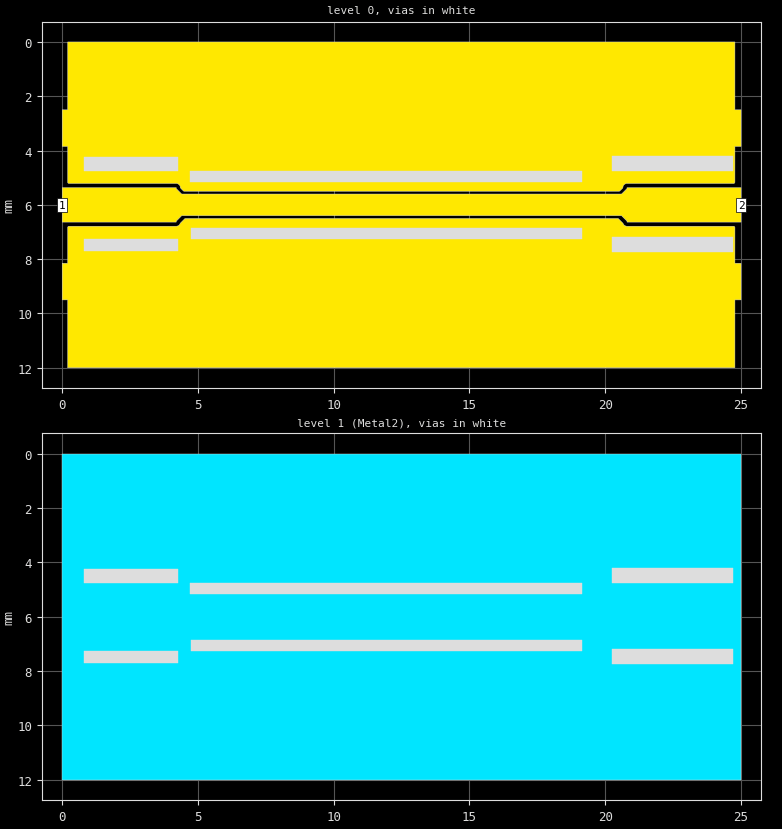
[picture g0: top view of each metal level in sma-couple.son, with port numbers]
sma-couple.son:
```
FTYP SONPROJ 17 ! Sonnet Project File
VER 17.52.2
HEADER
LIC antikernel2.1.48685 90e2ba8817c0 havequick azonenberg
DAT 04/28/2020 05:04:50
BUILT_BY_CREATED xgeom 16.56 07/03/2018 15:05:41
BUILT_BY_SAVED sonnet 17.52.2
MDATE 04/28/2020 05:04:50
HDATE 04/28/2020 05:04:50
ANN Created by dxfgeo, Sonnet Software Inc.
END HEADER
DIM
ANG DEG
CAP PF
CON /OH
FREQ GHZ
IND NH
LNG MM
RES OH
END DIM
CONTROL
VARSWP
OPTIONS  -dj
SPEED 1
CACHE_ABS 1
Q_ACC N
END CONTROL
GEO
SYM
TMET "Free Space" 0 FREESPACE 376.7303136 0 0 0
BMET "Free Space" 0 FREESPACE 376.7303136 0 0 0
MET "Copper 1oz" 1 TMM 58000000 0.5 0.035 2
BRI "Alumina (96%)" 0 9.4 0.0004 0 
BRI "Alumina (99.5%)" 0 9.9 0.0001 0 
BRI "Aluminum Nitride" 0 8.6 0.0003 0 
BRI "Arlon 25FR" 0 3.58 0.0035 0 
BRI "Arlon 25N" 0 3.38 0.0025 0 
BRI "Arlon AD5" 0 5.1 0.003 0 
BRI "Arlon AD10" 0 10.2 0.005 0 
BRI "Arlon AD250" 0 2.5 0.0018 0 
BRI "Arlon AD255A" 0 2.55 0.0015 0 
BRI "Arlon AD260A" 0 2.6 0.0018 0 
BRI "Arlon AD270" 0 2.7 0.0023 0 
BRI "Arlon AD300A" 0 3 0.002 0 
BRI "Arlon AD320A" 0 3.2 0.0032 0 
BRI "Arlon AD350A" 0 3.5 0.003 0 
BRI "Arlon AD410" 0 4.1 0.003 0 
BRI "Arlon AD430" 0 4.3 0.003 0 
BRI "Arlon AD450" 0 4.5 0.0035 0 
BRI "Arlon AD600" 0 6.15 0.003 0 
BRI "Arlon AD1000" 0 10.2 0.0023 0 
BRI "Arlon AR1000" 0 9.8 0.003 0 
BRI "Arlon CLTE" 0 2.96 0.0023 0 
BRI "Arlon CLTE-AT" 0 3 0.0013 0 
BRI "Arlon CLTE-P" 0 2.94 0.0025 0 
BRI "Arlon CLTE-XT" 0 2.94 0.0012 0 
BRI "Arlon Cu 217LX" 0 2.17 0.0009 0 
BRI "Arlon Cu 233LX" 0 2.33 0.0013 0 
BRI "Arlon Cu 250GT" 0 2.5 0.001 0 
BRI "Arlon Cu 250GX" 0 2.5 0.0018 0 
BRI "Arlon Cu 6250" 0 2.32 0.0013 0 
BRI "Arlon Cu 6700" 0 2.35 0.0025 0 
BRI "Arlon Di 522" 0 2.5 0.001 0 
BRI "Arlon Di 527" 0 2.5 0.0018 0 
BRI "Arlon Di 870" 0 2.33 0.0013 0 
BRI "Arlon Di 880" 0 2.17 0.0009 0 
BRI "Arlon Iso 917" 0 2.17 0.0013 0 
BRI "Arlon Iso 933" 0 2.33 0.0016 0 
BRI "Arlon Multi HF" 0 3.7 0.004 0 
BRI "Arlon TC350" 0 3.5 0.002 0 
BRI "Arlon TC600" 0 6.15 0.002 0 
BRI "Beryllia (99.5%)" 0 6.5 0.0004 0 
BRI "CEM-1" 0 4.5 0.02 0 
BRI "CEM-3" 0 4.5 0.02 0 
BRI "Dupont 9K7" 0 7.1 0.0012 0 
BRI "Dupont 943" 0 7.4 0.002 0 
BRI "Dupont 951" 0 7.8 0.006 0 
BRI "Dupont FEP" 0 2 0.0005 0 
BRI "Dupont Vacrel" 0 3.8 0.011 0 
BRI "ESL 41010" 0 7.5 0.005 0 
BRI "ESL 41020" 0 7.25 0.005 0 
BRI "ESL 41050" 0 13.5 0.002 0 
BRI "ESL 41060" 0 16.5 0.002 0 
BRI "ESL 41110" 0 4.5 0.004 0 
BRI "Ferro A6M" 0 5.9 0.002 0 
BRI "Ferro A6S" 0 5.9 0.002 0 
BRI "Ferro L8" 0 7.3 0.0018 0 
BRI "FR-4" 0 4.4 0.02 0 
BRI "G-10" 0 4.8 0.025 0 
BRI "Gallium Arsenide" 0 12.9 0.006 0 
BRI "Gallium Nitride" 0 9.7 0 0 
BRI "Glass (Pyrex)" 0 4.82 0.0054 0 
BRI "Heraeus HL2000" 0 7.3 0.0026 0 
BRI "Isola 370HR" 0 4.04 0.021 0 
BRI "Isola FR408" 0 3.77 0.0116 0 
BRI "Isola FR408HR" 0 3.68 0.0092 0 
BRI "Isola Getek" 0 3.6 0.01 0 
BRI "Isola GI-180" 0 3.7 0.013 0 
BRI "Isola IS415" 0 3.82 0.0125 0 
BRI "Isola IS620i" 0 3.58 0.006 0 
BRI "Isola IS680-280" 0 2.8 0.0025 0 
BRI "Isola IS680-300" 0 3 0.003 0 
BRI "Isola IS680-320" 0 3.2 0.003 0 
BRI "Isola IS680-333" 0 3.33 0.003 0 
BRI "Isola IS680-338" 0 3.38 0.0032 0 
BRI "Isola IS680-345" 0 3.45 0.0036 0 
BRI "Kerafol CT800" 0 5.3 0.008 0 
BRI "Nelco MW9350" 0 3.7 0.004 0 
BRI "Nelco N4000-12" 0 3.7 0.008 0 
BRI "Nelco N4000-13" 0 3.7 0.009 0 
BRI "Nelco N4000-13SI" 0 3.2 0.007 0 
BRI "Nelco N4000-13EP" 0 3.7 0.008 0 
BRI "Nelco N4350-13RF" 0 3.5 0.0065 0 
BRI "Nelco N4380-13RF" 0 3.8 0.007 0 
BRI "Nelco N9300-13RF" 0 3 0.004 0 
BRI "Nelco N9320-13RF" 0 3.2 0.0045 0 
BRI "Nelco N9338-13RF" 0 3.38 0.0046 0 
BRI "Nelco N9350-13RF" 0 3.48 0.0055 0 
BRI "Nelco NH9294" 0 2.94 0.0022 0 
BRI "Nelco NH9300" 0 3 0.0023 0 
BRI "Nelco NH9320" 0 3.2 0.0024 0 
BRI "Nelco NH9338" 0 3.38 0.0025 0 
BRI "Nelco NH9348" 0 3.48 0.003 0 
BRI "Nelco NH9350" 0 3.5 0.003 0 
BRI "Nelco NH9410" 0 4.1 0.003 0 
BRI "Nelco NH9450" 0 4.5 0.003 0 
BRI "Nelco NX9240" 0 2.4 0.0016 0 
BRI "Nelco NX9245" 0 2.45 0.0016 0 
BRI "Nelco NX9250" 0 2.5 0.0017 0 
BRI "Nelco NX9255" 0 2.55 0.0018 0 
BRI "Nelco NX9260" 0 2.6 0.0019 0 
BRI "Nelco NY9208" 0 2.08 0.0006 0 
BRI "Nelco NY9217" 0 2.17 0.0008 0 
BRI "Nelco NY9220" 0 2.2 0.0009 0 
BRI "Nelco NY9233" 0 2.33 0.0011 0 
BRI "PET" 0 3.37 0.0208 0 
BRI "Polyimide" 0 3.5 0.003 0 
BRI "Quartz (Fused)" 0 3.78 0.0001 0 
BRI "Rogers 3001" 0 2.28 0.003 0 
BRI "Rogers RO2808" 0 7.6 0.0015 0 
BRI "Rogers RO3003" 0 3 0.0013 0 
BRI "Rogers RO3006" 0 6.5 0.002 0 
BRI "Rogers RO3010" 0 11.2 0.0022 0 
BRI "Rogers RO3035" 0 3.6 0.0018 0 
BRI "Rogers RO3203" 0 3.02 0.0016 0 
BRI "Rogers RO3206" 0 6.6 0.0027 0 
BRI "Rogers RO3210" 0 10.8 0.0027 0 
BRI "Rogers RO3730" 0 3 0.0016 0 
BRI "Rogers RO4003C" 0 3.55 0.0029 0 
BRI "Rogers RO4533" 0 3.45 0.0029 0 
BRI "Rogers RO4534" 0 3.4 0.003 0 
BRI "Rogers RO4350B" 0 3.66 0.0037 0 
BRI "Rogers RO4350BTX" 0 3.66 0.0034 0 
BRI "Rogers RO4360" 0 6.15 0.0038 0 
BRI "Rogers RO4450B-3.6" 0 3.3 0.0043 0 
BRI "Rogers RO4450B-4" 0 3.54 0.004 0 
BRI "Rogers RO4450F" 0 3.52 0.0041 0 
BRI "Rogers RO4730" 0 3 0.0033 0 
BRI "Rogers RT5870" 0 2.33 0.0012 0 
BRI "Rogers RT5880" 0 2.2 0.0009 0 
BRI "Rogers RT5880LZ" 0 1.96 0.0019 0 
BRI "Rogers RT6002" 0 2.94 0.0012 0 
BRI "Rogers RT6006" 0 6.15 0.0027 0 
BRI "Rogers RT6010LM" 0 10.9 0.0023 0 
BRI "Rogers RT6035HTC" 0 3.6 0.0013 0 
BRI "Rogers RT6202" 0 2.94 0.0015 0 
BRI "Rogers RT6202PR" 0 2.95 0.0015 0 
BRI "Rogers Syron7000" 0 3.4 0.0045 0 
BRI "Rogers Syron7100-2" 0 3.61 0.006 0 
BRI "Rogers Syron7100-4" 0 3.39 0.005 0 
BRI "Rogers Theta" 0 4.01 0.0118 0 
BRI "Rogers TMM 3" 0 3.39 0.002 0 
BRI "Rogers TMM 4" 0 4.5 0.002 0 
BRI "Rogers TMM 6" 0 6 0.0023 0 
BRI "Rogers TMM 10" 0 9.56 0.0022 0 
BRI "Rogers TMM 10i" 0 9.96 0.002 0 
BRI "Rogers UL2000" 0 2.5 0.0019 0 
BRI "Rogers UL3850" 0 3.05 0.0025 0 
BRI "Rogers UL3908" 0 2.9 0.0025 0 
BRI "Rogers XT8000" 0 3.34 0.0035 0 
BRI "Rogers XT8100-2" 0 3.54 0.0049 0 
BRI "Rogers XT8100-4" 0 3.32 0.0038 0 
BRI "Silicon (intrinsic)" 0 11.9 0.004 0.00044 
BRI "Silicon Dioxide" 0 3.9 0 0 
BRI "Silicon Nitride" 0 7.5 0 0 
BRI "Taconic CER-10" 0 10 0.0035 0 
BRI "Taconic FastFilm" 0 2.7 0.0012 0 
BRI "Taconic Fastrise-DS" 0 2.96 0.0018 0 
BRI "Taconic Fastrise27" 0 2.7 0.0014 0 
BRI "Taconic Fastrise77" 0 7.7 0.0034 0 
BRI "Taconic FEP" 0 2 0.0003 0 
BRI "Taconic RF-30" 0 3 0.0014 0 
BRI "Taconic RF-35" 0 3.5 0.0018 0 
BRI "Taconic RF-35A2" 0 3.5 0.0011 0 
BRI "Taconic RF-35P" 0 3.5 0.0025 0 
BRI "Taconic RF-41" 0 4.1 0.0038 0 
BRI "Taconic RF-43" 0 4.3 0.0033 0 
BRI "Taconic RF-45" 0 4.5 0.0037 0 
BRI "Taconic RF-60A" 0 6.15 0.0038 0 
BRI "Taconic RF-301" 0 2.97 0.0012 0 
BRI "Taconic TacBond HT" 0 2.35 0.0025 0 
BRI "Taconic TLA-6" 0 2.62 0.0012 0 
BRI "Taconic TLC-27" 0 2.75 0.003 0 
BRI "Taconic TLC-30" 0 3 0.003 0 
BRI "Taconic TLC-32" 0 3.2 0.003 0 
BRI "Taconic TLE-95" 0 2.95 0.0028 0 
BRI "Taconic TLF-34" 0 3.4 0.002 0 
BRI "Taconic TLF-35" 0 3.5 0.002 0 
BRI "Taconic TLP-3" 0 2.33 0.0009 0 
BRI "Taconic TLP-5" 0 2.2 0.0009 0 
BRI "Taconic TLP-5A" 0 2.17 0.0009 0 
BRI "Taconic TLT-0" 0 2.45 0.0006 0 
BRI "Taconic TLT-9" 0 2.5 0.0006 0 
BRI "Taconic TLT-8" 0 2.55 0.0006 0 
BRI "Taconic TLT-7" 0 2.6 0.0006 0 
BRI "Taconic TLT-6" 0 2.65 0.0006 0 
BRI "Taconic TLX-0" 0 2.45 0.0019 0 
BRI "Taconic TLX-9" 0 2.5 0.0019 0 
BRI "Taconic TLX-8" 0 2.55 0.0019 0 
BRI "Taconic TLX-7" 0 2.6 0.0019 0 
BRI "Taconic TLX-6" 0 2.65 0.0019 0 
BRI "Taconic TLY-3" 0 2.33 0.0009 0 
BRI "Taconic TLY-3F" 0 2.33 0.0009 0 
BRI "Taconic TLY-5" 0 2.2 0.0009 0 
BRI "Taconic TLY-5-L" 0 2.2 0.0009 0 
BRI "Taconic TLY-5A" 0 2.17 0.0009 0 
BRI "Taconic TLY-5A-L" 0 2.17 0.0009 0 
BRI "Taconic TPG-30" 0 3 0.0038 0 
BRI "Taconic TPG-32" 0 3.2 0.005 0 
BRI "Taconic TPG-35" 0 3.5 0.005 0 
BRI "Taconic TRF-41" 0 4.1 0.0035 0 
BRI "Taconic TRF-43" 0 4.3 0.0035 0 
BRI "Taconic TRF-45" 0 4.5 0.0035 0 
BRI "Taconic TSM-DS" 0 2.85 0.001 0 
BRI "Taconic TSM-DS3" 0 3 0.0011 0 
BRI "Taconic TSM-26" 0 2.6 0.0014 0 
BRI "Taconic TSM-29" 0 2.94 0.0013 0 
BRI "Taconic TSM-30" 0 3 0.0013 0 
BRI "Teflon (PTFE)" 0 2.08 0.0004 0 
BOX 2 25 12 1000 480 20 0
      1 1 1 0 0 0 0 "Air"
      1.524 3.66 1 0.0037 0 0 0 "Rogers RO4350B"
      1 1 1 0 0 0 0 "Air"
TECHLAY METAL Metal1 <UNSPECIFIED> -2 0 
0 0 0 N 0 1 1 100 100 0 0 0 Y
END
END
TECHLAY METAL Metal2 <UNSPECIFIED> -3 0 
1 0 -1 N 0 1 1 100 100 0 0 0 Y
END
END
TECHLAY VIA Via1 <UNSPECIFIED> -4 0 
VIA POLYGON
1 0 -1 N 0 1 1 100 100 0 0 0 Y
TOLEVEL 0 RING NOCOVERS
END
END
DIM STD YDIR 1
POS 0.4194571487 0.7292568107
NOM 1.2700042
REF1 POLY 17387 1
38
REF2 POLY 17387 1
37
END
DIM STD YDIR 1
POS -0.01951792985 0.4844906184
NOM 0.8145981
REF1 POLY 17387 1
45
REF2 POLY 17387 1
26
END
LORGN 0 75 U 
POR1 BOX
POLY 17387 1
13
1 50 0 0 0 -3.552713679e-15 6 
POR1 BOX
POLY 17387 1
37
2 50 0 0 0 25 6 
NUM 10
0 49 0 N 17387 1 1 100 100 0 0 0 Y
USER_DAT FromImport
20.60630035 5.5970001
20.604599 5.5999985
4.39530182 5.5999985
4.39400101 5.5976028
4.39189911 5.5934982
4.38869858 5.5894012
4.38579941 5.5858994
4.21459961 5.4145966
4.21110153 5.4116974
4.20750046 5.408699
4.20299911 5.4063034
4.20000076 5.4046021
4.20000076 5.3649979
-3.552713679e-15 5.3649979
-3.552713679e-15 6.6350021
4.20000076 6.6350021
4.20000076 6.5952988
4.20240021 6.594101
4.20650101 6.5919037
4.21060181 6.5886993
4.21409988 6.5858002
4.38539886 6.4145966
4.38830185 6.4111023
4.3913002 6.4075012
4.39369965 6.4030991
4.395401 6.4000015
20.60469818 6.4000015
20.60589981 6.4023972
20.60810089 6.4065018
20.61130142 6.4105988
20.61420059 6.4141006
20.78540039 6.5854034
20.78889847 6.5883026
20.79249954 6.591301
20.7969017 6.5936966
20.79999924 6.5953979
20.79999924 6.6350021
25 6.6350021
25 5.3649979
20.79999924 5.3649979
20.79999924 5.4047012
20.79759979 5.4059982
20.79349899 5.4080963
20.78939819 5.4113007
20.78590012 5.4141998
20.61460114 5.5854034
20.61169815 5.5888977
20.6086998 5.5924988
20.60630035 5.5970001
END
0 109 0 N 17392 1 1 100 100 0 0 0 Y
USER_DAT FromImport
20.50889969 5.4994965
20.51350021 5.4990997
20.51839828 5.4977036
20.52289963 5.4963989
20.52740097 5.4941025
20.53150177 5.4918976
20.53559875 5.4887009
20.53910065 5.4858017
20.63550186 5.3895035
20.63679886 5.3879013
20.63840103 5.3862991
20.63990021 5.3841019
20.64160156 5.3820038
20.6427002 5.3800964
20.64390182 5.3783035
20.64500046 5.3758011
20.64630127 5.3733978
20.64690018 5.3712997
20.64780045 5.3693008
20.64830017 5.3666992
20.64910126 5.3640976
20.64929962 5.3619003
20.64979935 5.3598022
20.65219879 5.3356018
20.66070175 5.3072968
20.67470169 5.2813034
20.69340134 5.2584
20.71630096 5.2397003
20.74229813 5.2257004
20.77059937 5.2172012
20.80250168 5.2139969
24.72499847 5.2139969
24.72969818 5.2136002
24.7344017 5.2130966
24.73929977 5.2117004
24.74369812 5.2104034
24.74829865 5.2080002
24.75239944 5.2059021
24.75640106 5.2026978
24.75999832 5.1997986
24.76330185 5.1958008
24.7663002 5.1922989
24.76869965 5.1877975
24.77099991 5.1837006
24.77249908 5.1788025
24.77389908 5.1744003
24.7745018 5.1691971
24.77500153 5.1647034
24.77500153 3.8499985
25 3.8499985
25 2.5
24.77500153 2.5
24.77500153 0
0.20000076 0
0.20000076 2.5
-3.552713679e-15 2.5
-3.552713679e-15 3.8499985
0.20000076 3.8499985
0.20000076 5.1640015
0.20050049 5.1687012
0.20089912 5.1734009
0.20229912 5.178299
0.20359993 5.1828003
0.20599937 5.1873016
0.20820045 5.1913986
0.21139908 5.1953964
0.21430016 5.1989975
0.21820068 5.202301
0.22179985 5.2052994
0.2262001 5.2077026
0.2303009 5.2099991
0.23509979 5.2115021
0.23959923 5.2128983
0.24469948 5.213501
0.2493 5.2139969
4.19749832 5.2139969
4.22940063 5.2172012
4.25770187 5.2257004
4.28369904 5.2397003
4.30659866 5.2584
4.32529831 5.2813034
4.33929825 5.3072968
4.34780121 5.3356018
4.35010147 5.3591003
4.3506012 5.3611984
4.35079956 5.3634033
4.35150146 5.3659973
4.35200119 5.3686981
4.35290146 5.370697
4.35350037 5.3728027
4.35469818 5.3751984
4.35580063 5.3777008
4.35699844 5.3795013
4.35800171 5.3814011
4.35969925 5.3834991
4.36119843 5.3858032
4.36270142 5.3873978
4.36410141 5.3889999
4.46039963 5.4853973
4.46390152 5.4882965
4.46749878 5.4913025
4.47200012 5.4936981
4.47600174 5.4960022
4.48089981 5.4974976
4.48529816 5.4989014
4.4905014 5.4994965
4.49499893 5.5
20.50429916 5.5
20.50889969 5.4994965
END
0 123 0 N 17393 1 1 100 100 0 0 0 Y
USER_DAT FromImport
24.77500153 9.5
25 9.5
25 8.1500015
24.77500153 8.1500015
24.77500153 6.8359985
24.7745018 6.8312988
24.77410126 6.8265991
24.77270126 6.821701
24.77140045 6.8171997
24.76900101 6.8126984
24.76679993 6.8086014
24.7635994 6.8046036
24.76070023 6.8010025
24.75680161 6.797699
24.75320053 6.7947006
24.74879837 6.7922974
24.74470139 6.7900009
24.73989868 6.7884979
24.73540115 6.7871017
24.7303009 6.786499
24.72570038 6.7860031
20.80250168 6.7860031
20.77059937 6.7827988
20.74229813 6.7742996
20.71630096 6.7602997
20.69340134 6.7416
20.67470169 6.7186966
20.66030121 6.691803
20.65990067 6.6906967
20.65869904 6.6882019
20.6576004 6.6856995
20.65639877 6.6838989
20.6554985 6.6819992
20.65370178 6.6799011
20.65219879 6.677597
20.65069962 6.6760025
20.6493988 6.6744003
20.50170135 6.5267029
20.49950027 6.5240021
20.49879837 6.5225983
20.49710083 6.5205002
20.49560165 6.5183029
20.49409866 6.5167007
20.49269867 6.5149994
20.49060059 6.513298
20.48870087 6.5113983
20.48690033 6.5102005
20.48519897 6.5086975
20.48289871 6.5074997
20.48059845 6.5059967
20.47859955 6.5050964
20.47660065 6.5039978
20.47409821 6.5031967
20.47159958 6.5021973
20.4693985 6.5018005
20.46730042 6.5010986
20.46469879 6.5008011
20.46210098 6.5002975
20.45980072 6.5002975
20.45759964 6.5
4.54309845 6.5
4.54079819 6.5001984
4.53860092 6.5001984
4.5359993 6.5007019
4.53329849 6.5009995
4.53120041 6.5016022
4.52899933 6.5019989
4.52659988 6.5029984
4.52399826 6.5037994
4.52199936 6.5047989
4.52000046 6.5056
4.5177002 6.507103
4.51539993 6.5084
4.51369858 6.5098038
4.51179886 6.5110016
4.50989914 6.5128021
4.50780106 6.5145035
4.50640106 6.5161972
4.50479889 6.5177994
4.50329971 6.5199966
4.50159836 6.5220032
4.50059891 6.5239029
4.49829865 6.5267029
4.35110092 6.6738968
4.34980011 6.675499
4.34820175 6.677002
4.34669876 6.6792984
4.34489822 6.6813965
4.34389877 6.6832962
4.34270096 6.6850967
4.34159851 6.6875992
4.34030151 6.6900024
4.33980179 6.691597
4.32529831 6.7186966
4.30659866 6.7416
4.28369904 6.7602997
4.25770187 6.7742996
4.22940063 6.7827988
4.19749832 6.7860031
0.25 6.7860031
0.24530029 6.7863998
0.24060059 6.7869034
0.23570061 6.7882996
0.23130035 6.7895966
0.22669983 6.7919998
0.22260094 6.7940979
0.21859932 6.7973022
0.21500015 6.8002014
0.21170044 6.8041992
0.20870018 6.8077011
0.20630074 6.8121033
0.20400047 6.8162994
0.20249939 6.8209991
0.2010994 6.8255997
0.20050049 6.8307037
0.20000076 6.8352966
0.20000076 8.1500015
-3.552713679e-15 8.1500015
-3.552713679e-15 9.5
0.20000076 9.5
0.20000076 12
24.77500153 12
24.77500153 9.5
END
VIA POLYGON
0 5 -1 N 17394 1 1 100 100 0 0 0 Y
TOLEVEL 1 RING NOCOVERS
4.7 4.75
19.15000153 4.75
19.15000153 5.1500015
4.7 5.1500015
4.7 4.75
END
VIA POLYGON
0 5 -1 N 17395 1 1 100 100 0 0 0 Y
TOLEVEL 1 RING NOCOVERS
4.75 6.8499985
19.15000153 6.8499985
19.15000153 7.25
4.75 7.25
4.75 6.8499985
END
VIA POLYGON
0 5 -1 N 17396 1 1 100 100 0 0 0 Y
TOLEVEL 1 RING NOCOVERS
0.8 4.25
4.25 4.25
4.25 4.75
0.8 4.75
0.8 4.25
END
VIA POLYGON
0 5 -1 N 17397 1 1 100 100 0 0 0 Y
TOLEVEL 1 RING NOCOVERS
0.8 7.25
4.25 7.25
4.25 7.7
0.8 7.7
0.8 7.25
END
VIA POLYGON
0 5 -1 N 17398 1 1 100 100 0 0 0 Y
TOLEVEL 1 RING NOCOVERS
20.25 4.2
24.7 4.2
24.7 4.75
20.25 4.75
20.25 4.2
END
VIA POLYGON
0 5 -1 N 17399 1 1 100 100 0 0 0 Y
TOLEVEL 1 RING NOCOVERS
20.25 7.2
24.7 7.2
24.7 7.75
20.25 7.75
20.25 7.2
END
1 5 -1 N 17402 1 1 100 100 0 0 0 Y
TLAYNAM Metal2 INH
0 0
25 0
25 12
0 12
0 0
END
END GEO
OPT
MAX 100
END OPT
VARSWP
ENABLED Y
FREQ Y AN SWEEP 0.0 6.0 0.1
END
END VARSWP
```
